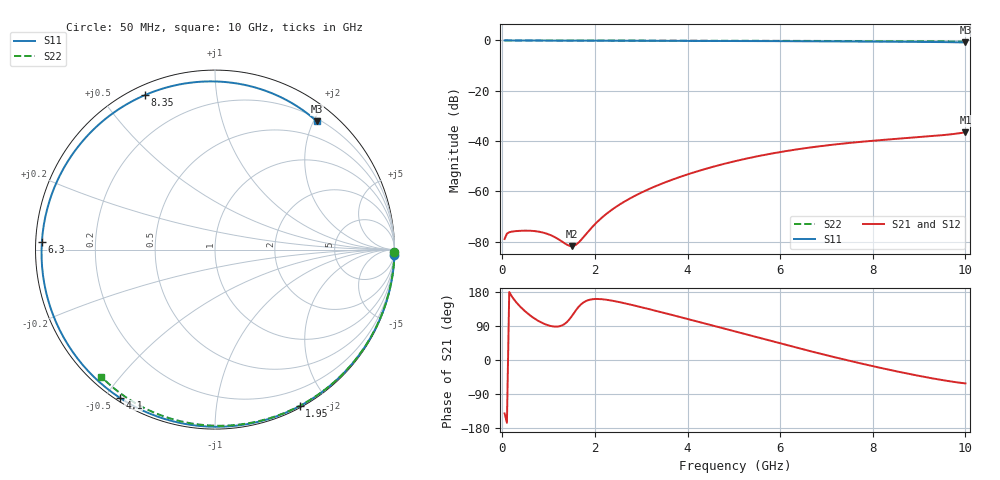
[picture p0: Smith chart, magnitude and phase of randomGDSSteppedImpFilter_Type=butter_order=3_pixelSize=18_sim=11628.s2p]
! freq	dB(S11)	phase(S11)	dB(S12)	phase(S12)
!  dB(S21)	phase(S21)	dB(S22)	phase(S22)
!S-par simulation data
#  GHz  S  DB  R 50
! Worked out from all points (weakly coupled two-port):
!   200 points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, 50 MHz to 10 GHz, reference 50 ohm
!   highest |S21| = -36.51 dB at 10 GHz (marker M1); lowest = -81.7 dB at 1.5 GHz (marker M2)
!   lowest |S11| = -0.8 dB at 10 GHz (marker M3), VSWR 21.79, Z = 12 + j102 ohm
!   |S11| at or under -10 dB: nowhere
!   |S22| runs from -0.4 to 0.0 dB; largest |S21 - S12| = 0
!   S11 on the Smith chart (normalised r, x): 50 MHz: 0, -70; 1.95 GHz: 0.02, -1.68; 4.1 GHz: 0.01, -0.54; 6.3 GHz: 0.02, +0.02; 8.35 GHz: 0.04, +0.64; 10 GHz: 0.24, +2.05
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0.05  -0.00 -1.6  -78.88 -141.0  -78.88 -141.0  -0.00 -0.8
0.1  -0.00 -3.3  -76.78 -165.9  -76.78 -165.9  -0.00 -1.5
0.15  -0.00 -4.9  -76.22 179.6  -76.22 179.6  -0.00 -2.3
0.6  -0.02 -19.5  -75.61 117.8  -75.61 117.8  -0.01 -9.1
0.95  -0.04 -30.6  -76.72 93.3  -76.72 93.3  -0.02 -14.4
1.3  -0.05 -41.7  -80.04 91.8  -80.04 91.8  -0.02 -19.6
1.5  -0.06 -47.9  -81.75 115.5  -81.75 115.5  -0.03 -22.6
1.65  -0.07 -52.5  -80.27 140.6  -80.27 140.6  -0.03 -24.8
1.75  -0.07 -55.5  -78.21 151.7  -78.21 151.7  -0.03 -26.3
1.95  -0.08 -61.6  -73.97 160.5  -73.97 160.5  -0.04 -29.2
2.55  -0.10 -79.4  -65.01 152.2  -65.01 152.2  -0.05 -37.9
3.4  -0.13 -103.6  -57.23 127.2  -57.23 127.2  -0.07 -50.0
4.1  -0.16 -122.8  -52.64 105.1  -52.64 105.1  -0.08 -59.7
5.05  -0.22 -148.4  -47.86 74.5  -47.86 74.5  -0.11 -72.4
5.7  -0.26 -166.0  -45.34 53.4  -45.34 53.4  -0.13 -80.8
6.3  -0.30 177.4  -43.46 34.3  -43.46 34.3  -0.16 -88.3
6.7  -0.34 166.0  -42.41 21.8  -42.41 21.8  -0.18 -93.3
7.5  -0.41 142.1  -40.71 -2.1  -40.71 -2.1  -0.23 -102.9
8.35  -0.49 114.5  -39.33 -25.6  -39.33 -25.6  -0.29 -112.9
9.2  -0.59 83.9  -38.13 -46.5  -38.13 -46.5  -0.36 -122.7
9.6  -0.67 68.3  -37.47 -55.0  -37.47 -55.0  -0.40 -127.3
10  -0.80 51.5  -36.51 -61.8  -36.51 -61.8  -0.45 -131.9
